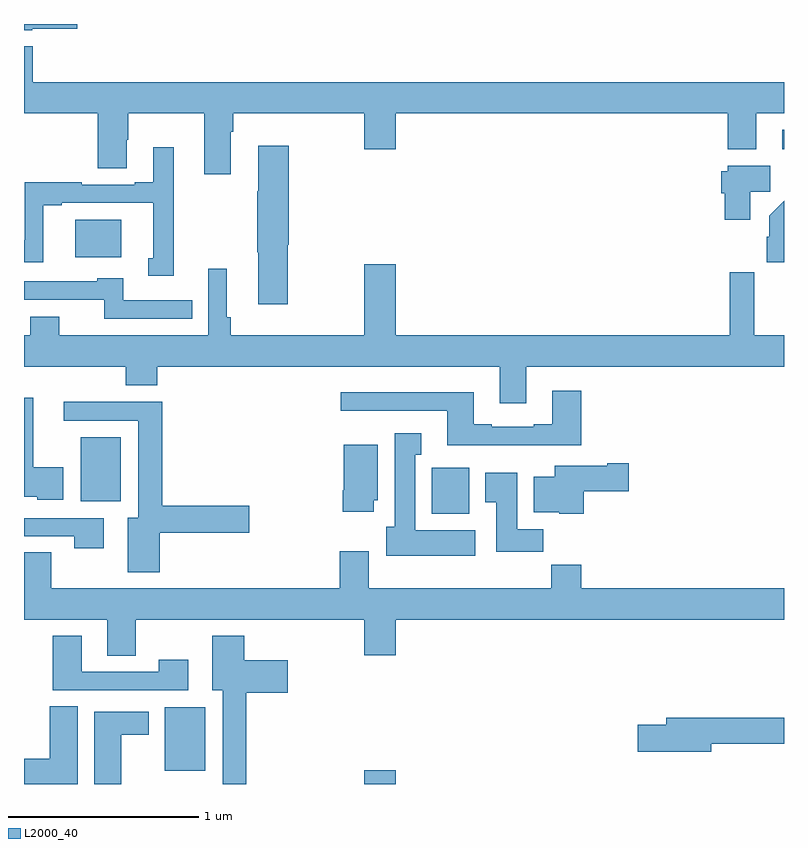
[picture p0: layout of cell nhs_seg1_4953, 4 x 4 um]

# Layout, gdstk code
import gdstk
lib = gdstk.Library(unit=1e-6, precision=1e-09)
def R(c, l, rs):  # rectangles x0, y0, x1, y1
    for r in rs: c.add(gdstk.rectangle(r[:2], r[2:], *l))
def P(c, l, *ps):  # polygons
    for p in ps: c.add(gdstk.Polygon(p, *l))
L2000_40 = (2000, 40)

nhs_seg1_4953 = lib.new_cell('nhs_seg1_4953')
R(nhs_seg1_4953, L2000_40, [(380.792,552.199,380.956,552.271), (379.742,552.269,379.954,552.604), (381.146,553.622,381.343,553.864), (379.298,553.688,379.51,554.023), (379.271,554.972,379.513,555.169), (382.991,555.54,383,555.643)])
P(nhs_seg1_4953, L2000_40, [(379.044,556.175),(379.279,556.175),(379.279,556.199),(379,556.199),(379,556.166),(379.044,556.166)],
  [(380.089,555.632),(380.102,555.632),(380.102,555.728),(380.792,555.728),(380.792,555.54),(380.956,555.54),(380.956,555.728),(382.703,555.728),(382.703,555.539),(382.855,555.539),(382.855,555.728),(383,555.728),(383,555.892),(379.046,555.892),(379.046,556.081),(379,556.081),(379,555.728),(379.388,555.728),(379.388,555.439),(379.54,555.439),(379.54,555.59),(379.548,555.59),(379.548,555.728),(379.949,555.728),(379.949,555.408),(380.089,555.408)],
  [(380.388,555.036),(380.393,555.036),(380.393,555.559),(380.234,555.559),(380.234,555.32),(380.227,555.32),(380.227,554.998),(380.234,554.998),(380.234,554.724),(380.388,554.724)],
  [(379.789,555.55),(379.679,555.55),(379.679,555.367),(379.583,555.367),(379.583,555.354),(379.304,555.354),(379.304,555.367),(379.003,555.367),(379.003,555.062),(379,555.062),(379,554.946),(379.102,554.946),(379.102,555.246),(379.198,555.246),(379.198,555.258),(379.679,555.258),(379.679,554.967),(379.655,554.967),(379.655,554.873),(379.789,554.873)],
  [(382.822,555.316),(382.927,555.316),(382.927,555.454),(382.704,555.454),(382.704,555.423),(382.67,555.423),(382.67,555.309),(382.688,555.309),(382.688,555.168),(382.822,555.168)],
  [(383,555.268),(382.922,555.19),(382.922,555.08),(382.91,555.08),(382.91,554.946),(383,554.946)],
  [(381.643,554.396),(383,554.396),(383,554.56),(382.843,554.56),(382.843,554.893),(382.714,554.893),(382.714,554.56),(380.956,554.56),(380.956,554.935),(380.792,554.935),(380.792,554.56),(380.087,554.56),(380.087,554.656),(380.068,554.656),(380.068,554.911),(379.971,554.911),(379.971,554.56),(379.186,554.56),(379.186,554.659),(379.034,554.659),(379.034,554.56),(379,554.56),(379,554.396),(379.535,554.396),(379.535,554.297),(379.7,554.297),(379.7,554.396),(381.503,554.396),(381.503,554.202),(381.643,554.202)],
  [(379.886,554.745),(379.522,554.745),(379.522,554.86),(379.386,554.86),(379.386,554.844),(379,554.844),(379,554.748),(379.423,554.748),(379.423,554.649),(379.886,554.649)],
  [(381.932,554.269),(381.779,554.269),(381.779,554.092),(381.683,554.092),(381.683,554.079),(381.463,554.079),(381.463,554.092),(381.367,554.092),(381.367,554.26),(380.667,554.26),(380.667,554.163),(381.227,554.163),(381.227,553.982),(381.932,553.982)],
  [(379.207,553.865),(379.048,553.865),(379.048,554.233),(379,554.233),(379,553.712),(379.071,553.712),(379.071,553.694),(379.207,553.694)],
  [(379.714,553.522),(380.185,553.522),(380.185,553.664),(379.727,553.664),(379.727,554.21),(379.209,554.21),(379.209,554.112),(379.601,554.112),(379.601,553.6),(379.547,553.6),(379.547,553.314),(379.714,553.314)],
  [(381.376,553.534),(381.058,553.534),(381.058,553.931),(381.091,553.931),(381.091,554.044),(380.951,554.044),(380.951,553.554),(380.906,553.554),(380.906,553.4),(381.376,553.4)],
  [(380.842,553.692),(380.863,553.692),(380.863,553.984),(380.684,553.984),(380.684,553.744),(380.677,553.744),(380.677,553.632),(380.842,553.632)],
  [(381.947,553.739),(382.183,553.739),(382.183,553.886),(382.07,553.886),(382.07,553.873),(381.794,553.873),(381.794,553.816),(381.683,553.816),(381.683,553.628),(381.816,553.628),(381.816,553.622),(381.947,553.622)],
  [(381.734,553.54),(381.595,553.54),(381.595,553.837),(381.428,553.837),(381.428,553.681),(381.485,553.681),(381.485,553.422),(381.734,553.422)],
  [(379.42,553.599),(379,553.599),(379,553.503),(379.264,553.503),(379.264,553.44),(379.42,553.44)],
  [(379.587,553.064),(380.792,553.064),(380.792,552.876),(380.956,552.876),(380.956,553.064),(383,553.064),(383,553.228),(381.932,553.228),(381.932,553.352),(381.775,553.352),(381.775,553.228),(380.815,553.228),(380.815,553.423),(380.663,553.423),(380.663,553.228),(379.143,553.228),(379.143,553.418),(379,553.418),(379,553.064),(379.439,553.064),(379.439,552.874),(379.587,552.874)],
  [(379.864,552.853),(379.708,552.853),(379.708,552.789),(379.303,552.789),(379.303,552.979),(379.151,552.979),(379.151,552.693),(379.864,552.693)],
  [(380.171,552.68),(380.389,552.68),(380.389,552.85),(380.158,552.85),(380.158,552.979),(379.991,552.979),(379.991,552.692),(380.045,552.692),(380.045,552.199),(380.171,552.199)],
  [(379.282,552.608),(379.136,552.608),(379.136,552.332),(379,552.332),(379,552.199),(379.282,552.199)],
  [(379.513,552.458),(379.657,552.458),(379.657,552.58),(379.37,552.58),(379.37,552.199),(379.513,552.199)],
  [(382.618,552.412),(383,552.412),(383,552.548),(382.379,552.548),(382.379,552.512),(382.23,552.512),(382.23,552.37),(382.618,552.37)])

lib.write_gds('nhs_seg1_4953.gds')
